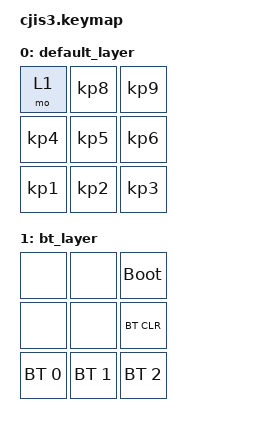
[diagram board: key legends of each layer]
/ {
    keymap {
        compatible = "zmk,keymap";

        default_layer {
            bindings = <
                &mo 1       &kp KP_N8   &kp KP_N9
                &kp KP_N4   &kp KP_N5   &kp KP_N6
                &kp KP_N1   &kp KP_N2   &kp KP_N3
            >;
        };

        bt_layer {
            bindings = <
                &none           &none           &bootloader
                &none           &none           &bt BT_CLR
                &bt BT_SEL 0    &bt BT_SEL 1    &bt BT_SEL 2

            >;
        };
    };
};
